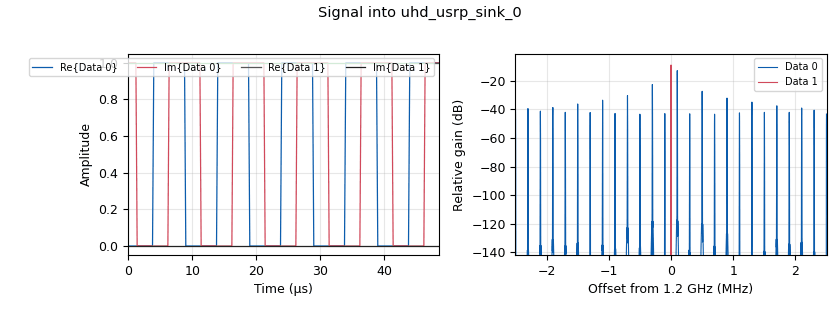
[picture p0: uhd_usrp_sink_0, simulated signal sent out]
options:
  parameters:
    generate_options: qt_gui
    id: show_receive
    output_language: python
    title: Not titled yet
  states: {}

blocks:
- name: samp_rate
  id: variable
  parameters:
    value: 5e6
  states: {}
- name: analog_sig_source_x_0
  id: analog_sig_source_x
  parameters:
    amp: '1'
    freq: '1000'
    offset: '0'
    phase: '0'
    samp_rate: samp_rate
    type: complex
    waveform: analog.GR_CONST_WAVE
  states: {}
- name: analog_sig_source_x_0_0
  id: analog_sig_source_x
  parameters:
    amp: '1'
    freq: 100e3
    offset: '0'
    phase: '0'
    samp_rate: samp_rate
    type: complex
    waveform: analog.GR_SQR_WAVE
  states: {}
- name: blocks_file_source_0
  id: blocks_file_source
  parameters:
    file: /home/cyj/PycharmProjects/signal_analysis/tx_noise_fc32.bin
    repeat: 'True'
    type: complex
  states: {state: disabled}
- name: blocks_file_source_0_0
  id: blocks_file_source
  parameters:
    file: /home/cyj/CLionProjects/uhd_test/cmake-build-release/tx_data_fc32.bin
    repeat: 'True'
    type: complex
  states: {state: disabled}
- name: qtgui_sink_x_0
  id: qtgui_sink_x
  parameters:
    bw: samp_rate
    fc: '0'
    fftsize: '1024'
    type: complex
  states: {}
- name: uhd_usrp_sink_0
  id: uhd_usrp_sink
  parameters:
    ant0: '"TX/RX"'
    ant1: '"TX/RX"'
    center_freq0: 1200e6
    center_freq1: 915e6
    clock_source0: internal
    dev_args: '"addr=192.168.180.2"'
    gain0: '10'
    gain1: '20'
    nchan: '2'
    samp_rate: samp_rate
    sync: sync
    type: fc32
  states: {}
- name: uhd_usrp_source_0
  id: uhd_usrp_source
  parameters:
    ant0: '"RX2"'
    center_freq0: 285e6
    clock_source0: internal
    dev_args: '"addr=192.168.180.2"'
    gain0: '10'
    samp_rate: samp_rate
    sync: sync
    type: fc32
  states: {}

connections:
- [analog_sig_source_x_0, '0', uhd_usrp_sink_0, '1']
- [analog_sig_source_x_0_0, '0', uhd_usrp_sink_0, '0']
- [blocks_file_source_0, '0', uhd_usrp_sink_0, '0']
- [uhd_usrp_source_0, '0', qtgui_sink_x_0, '0']

metadata:
  file_format: 1
  grc_version: 3.10.9.2
